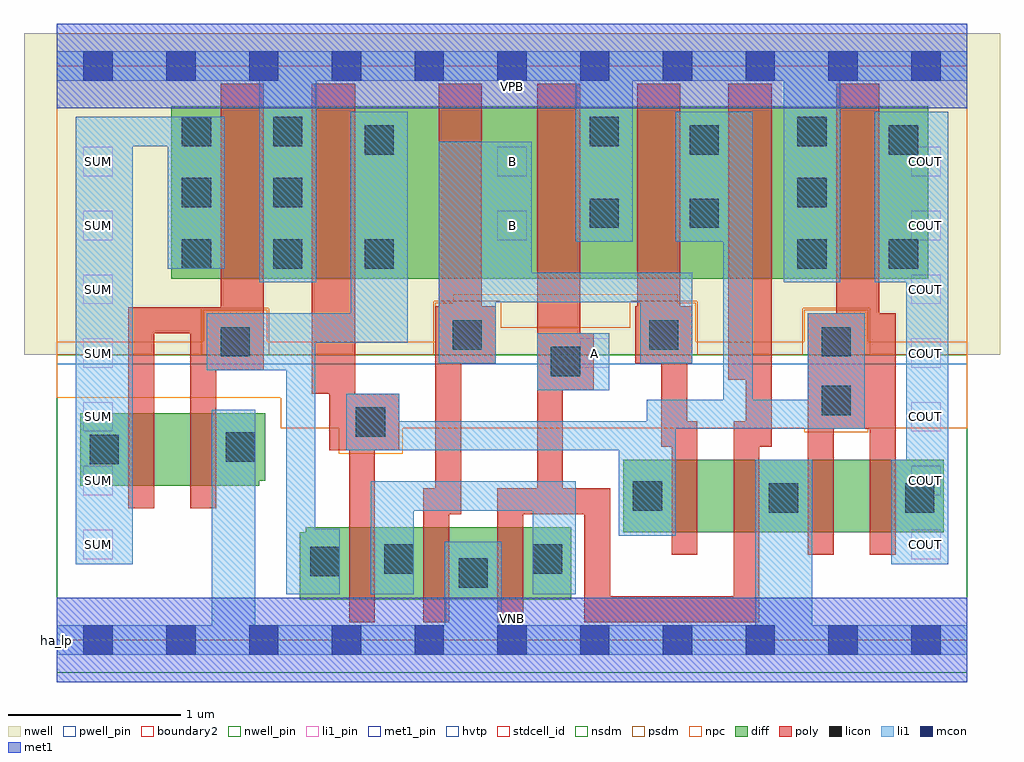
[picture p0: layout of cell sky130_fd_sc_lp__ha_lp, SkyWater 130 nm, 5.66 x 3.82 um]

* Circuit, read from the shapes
.subckt sky130_fd_sc_lp__ha_lp A B COUT SUM VGND VNB VPB VPWR
XM1 n1 n2 SUM VNB sky130_fd_pr__nfet_01v8 w=0.42 l=0.15
XM2 VGND n2 n1 VNB sky130_fd_pr__nfet_01v8 w=0.42 l=0.15
XM3 n3 n4 n2 VNB sky130_fd_pr__nfet_01v8 w=0.42 l=0.15
XM4 VGND B n3 VNB sky130_fd_pr__nfet_01v8 w=0.42 l=0.15
XM5 n3 A VGND VNB sky130_fd_pr__nfet_01v8 w=0.42 l=0.15
XM6 n5 B n4 VNB sky130_fd_pr__nfet_01v8 w=0.42 l=0.15
XM7 VGND A n5 VNB sky130_fd_pr__nfet_01v8 w=0.42 l=0.15
XM8 n6 n4 VGND VNB sky130_fd_pr__nfet_01v8 w=0.42 l=0.15
XM9 COUT n4 n6 VNB sky130_fd_pr__nfet_01v8 w=0.42 l=0.15
XM10 VPWR n2 SUM VPB sky130_fd_pr__pfet_01v8_hvt w=1 l=0.25
XM11 n2 n4 VPWR VPB sky130_fd_pr__pfet_01v8_hvt w=1 l=0.25
XM12 n7 B n2 VPB sky130_fd_pr__pfet_01v8_hvt w=1 l=0.25
XM13 VPWR A n7 VPB sky130_fd_pr__pfet_01v8_hvt w=1 l=0.25
XM14 n4 B VPWR VPB sky130_fd_pr__pfet_01v8_hvt w=1 l=0.25
XM15 VPWR A n4 VPB sky130_fd_pr__pfet_01v8_hvt w=1 l=0.25
XM16 COUT n4 VPWR VPB sky130_fd_pr__pfet_01v8_hvt w=1 l=0.25
.ends

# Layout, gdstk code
import gdstk
lib = gdstk.Library(unit=1e-6, precision=1e-09)
def R(c, l, rs):  # rectangles x0, y0, x1, y1
    for r in rs: c.add(gdstk.rectangle(r[:2], r[2:], *l))
def A(c, l, x, y, w, h, nx, ny, dx, dy):  # array of equal rectangles
    R(c, l, [(x+i*dx, y+j*dy, x+i*dx+w, y+j*dy+h) for i in range(nx) for j in range(ny)])
def P(c, l, *ps):  # polygons
    for p in ps: c.add(gdstk.Polygon(p, *l))
nwell_pin = (64, 16)
nwell = (64, 20)
diff = (65, 20)
poly = (66, 20)
licon = (66, 44)
li1_pin = (67, 16)
li1 = (67, 20)
mcon = (67, 44)
met1_pin = (68, 16)
met1 = (68, 20)
hvtp = (78, 44)
stdcell_id = (81, 4)
nsdm = (93, 44)
psdm = (94, 20)
npc = (95, 20)
pwell_pin = (122, 16)
boundary2 = (236, 0)

sky130_fd_sc_lp__ha_lp = lib.new_cell('sky130_fd_sc_lp__ha_lp')
R(sky130_fd_sc_lp__ha_lp, nwell_pin, [(0,3.085,5.28,3.33)])
R(sky130_fd_sc_lp__ha_lp, nwell, [(-0.19,1.655,5.47,3.52)])
R(sky130_fd_sc_lp__ha_lp, diff, [(3.285,0.625,5.145,1.045), (0.665,2.095,5.055,3.095)])
P(sky130_fd_sc_lp__ha_lp, diff, [(1.21,1.315),(0.135,1.315),(0.135,0.895),(1.175,0.895),(1.175,0.925),(1.21,0.925)],
  [(2.985,0.655),(1.445,0.655),(1.445,0.625),(1.41,0.625),(1.41,0.235),(2.985,0.235)])
P(sky130_fd_sc_lp__ha_lp, poly, [(1.2,3.225),(0.95,3.225),(0.95,1.93),(0.415,1.93),(0.415,0.765),(0.565,0.765),(0.565,1.78),(0.775,1.78),(0.775,0.765),(0.925,0.765),(0.925,1.565),(1.2,1.565)],
  [(1.985,1.43),(1.73,1.43),(1.73,3.225),(1.48,3.225),(1.48,1.43),(1.58,1.43),(1.58,1.1),(1.695,1.1),(1.695,0.105),(1.845,0.105),(1.845,1.1),(1.985,1.1)],
  [(2.545,1.935),(2.465,1.935),(2.465,3.225),(2.215,3.225),(2.215,1.935),(2.195,1.935),(2.195,0.88),(2.125,0.88),(2.125,0.105),(2.275,0.105),(2.275,0.73),(2.345,0.73),(2.345,1.605),(2.545,1.605)],
  [(3.715,1.27),(3.655,1.27),(3.655,1.605),(3.685,1.605),(3.685,1.935),(3.615,1.935),(3.615,3.225),(3.365,3.225),(3.365,1.935),(3.355,1.935),(3.355,1.605),(3.505,1.605),(3.505,1.12),(3.565,1.12),(3.565,0.495),(3.715,0.495)],
  [(4.145,3.225),(3.895,3.225),(3.895,1.51),(3.995,1.51),(3.995,1.27),(3.925,1.27),(3.925,0.255),(3.21,0.255),(3.21,0.88),(2.935,0.88),(2.935,1.45),(3.115,1.45),(3.115,1.78),(3.035,1.78),(3.035,3.225),(2.785,3.225),(2.785,0.88),(2.555,0.88),(2.555,0.105),(2.705,0.105),(2.705,0.73),(3.06,0.73),(3.06,0.105),(4.075,0.105),(4.075,1.12),(4.145,1.12)],
  [(4.865,1.895),(4.77,1.895),(4.77,3.225),(4.52,3.225),(4.52,1.895),(4.355,1.895),(4.355,0.495),(4.505,0.495),(4.505,1.225),(4.715,1.225),(4.715,0.495),(4.865,0.495)])
A(sky130_fd_sc_lp__ha_lp, licon, 0.725, 2.155, 0.17, 0.17, 3, 1, 0.53, 0)
A(sky130_fd_sc_lp__ha_lp, licon, 4.295, 2.155, 0.17, 0.17, 1, 3, 0, 0.355)
R(sky130_fd_sc_lp__ha_lp, licon, [(2.33,0.305,2.5,0.475), (1.47,0.37,1.64,0.54), (1.9,0.385,2.07,0.555), (2.76,0.385,2.93,0.555), (4.13,0.74,4.3,0.91), (4.92,0.74,5.09,0.91), (3.34,0.75,3.51,0.92), (0.19,1.02,0.36,1.19), (0.98,1.035,1.15,1.205), (1.735,1.18,1.905,1.35), (4.435,1.305,4.605,1.475), (2.865,1.53,3.035,1.7), (0.95,1.645,1.12,1.815), (4.435,1.645,4.605,1.815), (2.295,1.685,2.465,1.855), (3.435,1.685,3.605,1.855), (4.825,2.155,4.995,2.325), (3.09,2.39,3.26,2.56), (3.67,2.39,3.84,2.56), (0.725,2.51,0.895,2.68), (1.255,2.51,1.425,2.68), (1.785,2.815,1.955,2.985), (3.67,2.815,3.84,2.985), (4.825,2.815,4.995,2.985), (0.725,2.865,0.895,3.035), (1.255,2.865,1.425,3.035), (3.09,2.865,3.26,3.035)])
A(sky130_fd_sc_lp__ha_lp, li1_pin, 0.155, 0.47, 0.17, 0.17, 1, 5, 0, 0.37)
A(sky130_fd_sc_lp__ha_lp, li1_pin, 4.955, 0.47, 0.17, 0.17, 1, 5, 0, 0.37)
A(sky130_fd_sc_lp__ha_lp, li1_pin, 0.155, 2.32, 0.17, 0.17, 3, 2, 2.4, 0.37)
R(sky130_fd_sc_lp__ha_lp, li1_pin, [(3.035,1.58,3.205,1.75)])
R(sky130_fd_sc_lp__ha_lp, li1, [(2.785,1.45,3.205,1.78)])
P(sky130_fd_sc_lp__ha_lp, li1, [(4.215,2.075),(4.215,3.245),(3.34,3.245),(3.34,2.31),(3.01,2.31),(3.01,3.245),(1.505,3.245),(1.505,2.075),(1.175,2.075),(1.175,3.245),(0,3.245),(0,3.415),(5.28,3.415),(5.28,3.245),(4.545,3.245),(4.545,2.075)],
  [(4.05,0.085),(4.05,1.045),(4.38,1.045),(4.38,0.085),(5.28,0.085),(5.28,-0.085),(0,-0.085),(0,0.085),(0.9,0.085),(0.9,1.335),(1.15,1.335),(1.15,0.085),(2.25,0.085),(2.25,0.57),(2.58,0.57),(2.58,0.085)],
  [(1.82,0.92),(3.01,0.92),(3.01,0.265),(2.76,0.265),(2.76,0.75),(2.07,0.75),(2.07,0.265),(1.82,0.265)],
  [(3.26,0.605),(3.26,1.1),(1.68,1.1),(1.68,1.43),(1.985,1.43),(1.985,1.27),(3.42,1.27),(3.42,1.395),(3.865,1.395),(3.865,2.31),(3.59,2.31),(3.59,3.065),(4.035,3.065),(4.035,1.395),(4.355,1.395),(4.355,1.895),(4.685,1.895),(4.685,1.225),(3.59,1.225),(3.59,0.605)],
  [(2.755,2.89),(2.755,2.13),(3.685,2.13),(3.685,1.605),(3.385,1.605),(3.385,1.96),(2.545,1.96),(2.545,1.605),(2.215,1.605),(2.215,2.89)],
  [(1.5,1.725),(1.5,0.645),(1.64,0.645),(1.64,0.265),(1.33,0.265),(1.33,1.565),(0.87,1.565),(0.87,1.895),(1.705,1.895),(1.705,3.065),(2.035,3.065),(2.035,1.725)],
  [(0.11,0.44),(0.11,3.035),(0.975,3.035),(0.975,2.155),(0.645,2.155),(0.645,2.865),(0.44,2.865),(0.44,0.44)],
  [(4.84,0.44),(4.84,1.045),(4.925,1.045),(4.925,2.075),(4.745,2.075),(4.745,3.065),(5.17,3.065),(5.17,0.44)])
A(sky130_fd_sc_lp__ha_lp, mcon, 0.155, -0.085, 0.17, 0.17, 11, 2, 0.48, 3.33)
R(sky130_fd_sc_lp__ha_lp, met1_pin, [(0,0,5.28,0.245), (0,3.085,5.28,3.33)])
R(sky130_fd_sc_lp__ha_lp, met1, [(0,-0.245,5.28,0.245), (0,3.085,5.28,3.575)])
R(sky130_fd_sc_lp__ha_lp, hvtp, [(0,1.6,5.28,3.33)])
R(sky130_fd_sc_lp__ha_lp, stdcell_id, [(0,0,5.28,3.33)])
R(sky130_fd_sc_lp__ha_lp, nsdm, [(0,-0.19,5.28,1.655)])
P(sky130_fd_sc_lp__ha_lp, psdm, [(5.28,3.52),(0,3.52),(0,1.655),(0.84,1.655),(0.84,1.925),(1.23,1.925),(1.23,1.655),(2.185,1.655),(2.185,1.965),(2.575,1.965),(2.575,1.81),(3.325,1.81),(3.325,1.965),(3.715,1.965),(3.715,1.655),(4.325,1.655),(4.325,1.925),(4.715,1.925),(4.715,1.655),(5.28,1.655)])
P(sky130_fd_sc_lp__ha_lp, npc, [(5.28,1.73),(4.705,1.73),(4.705,1.915),(4.335,1.915),(4.335,1.73),(3.705,1.73),(3.705,1.955),(3.6,1.955),(3.6,2.005),(2.3,2.005),(2.3,1.955),(2.195,1.955),(2.195,1.73),(1.22,1.73),(1.22,1.915),(0.85,1.915),(0.85,1.73),(0,1.73),(0,1.405),(1.3,1.405),(1.3,1.23),(1.635,1.23),(1.635,1.08),(2.005,1.08),(2.005,1.23),(4.335,1.23),(4.335,1.205),(4.705,1.205),(4.705,1.23),(5.28,1.23)])
R(sky130_fd_sc_lp__ha_lp, pwell_pin, [(0,0,5.28,0.245)])
R(sky130_fd_sc_lp__ha_lp, boundary2, [(0,0,5.28,3.33)])
sky130_fd_sc_lp__ha_lp.add(gdstk.Label('VNB', (2.64,0.123), layer=64, texttype=59))
sky130_fd_sc_lp__ha_lp.add(gdstk.Label('VPB', (2.64,3.208), layer=64, texttype=5))
sky130_fd_sc_lp__ha_lp.add(gdstk.Label('ha_lp', (0,0), layer=83, texttype=44))
sky130_fd_sc_lp__ha_lp.add(gdstk.Label('VPWR', (2.64,3.208), layer=68, texttype=5))
sky130_fd_sc_lp__ha_lp.add(gdstk.Label('VGND', (2.64,0.123), layer=68, texttype=5))
sky130_fd_sc_lp__ha_lp.add(gdstk.Label('A', (3.12,1.665), layer=67, texttype=5))
sky130_fd_sc_lp__ha_lp.add(gdstk.Label('B', (2.64,2.405), layer=67, texttype=5))
sky130_fd_sc_lp__ha_lp.add(gdstk.Label('B', (2.64,2.775), layer=67, texttype=5))
sky130_fd_sc_lp__ha_lp.add(gdstk.Label('SUM', (0.24,0.555), layer=67, texttype=5))
sky130_fd_sc_lp__ha_lp.add(gdstk.Label('SUM', (0.24,0.925), layer=67, texttype=5))
sky130_fd_sc_lp__ha_lp.add(gdstk.Label('SUM', (0.24,1.295), layer=67, texttype=5))
sky130_fd_sc_lp__ha_lp.add(gdstk.Label('SUM', (0.24,1.665), layer=67, texttype=5))
sky130_fd_sc_lp__ha_lp.add(gdstk.Label('SUM', (0.24,2.035), layer=67, texttype=5))
sky130_fd_sc_lp__ha_lp.add(gdstk.Label('SUM', (0.24,2.405), layer=67, texttype=5))
sky130_fd_sc_lp__ha_lp.add(gdstk.Label('SUM', (0.24,2.775), layer=67, texttype=5))
sky130_fd_sc_lp__ha_lp.add(gdstk.Label('COUT', (5.04,0.555), layer=67, texttype=5))
sky130_fd_sc_lp__ha_lp.add(gdstk.Label('COUT', (5.04,0.925), layer=67, texttype=5))
sky130_fd_sc_lp__ha_lp.add(gdstk.Label('COUT', (5.04,1.295), layer=67, texttype=5))
sky130_fd_sc_lp__ha_lp.add(gdstk.Label('COUT', (5.04,1.665), layer=67, texttype=5))
sky130_fd_sc_lp__ha_lp.add(gdstk.Label('COUT', (5.04,2.035), layer=67, texttype=5))
sky130_fd_sc_lp__ha_lp.add(gdstk.Label('COUT', (5.04,2.405), layer=67, texttype=5))
sky130_fd_sc_lp__ha_lp.add(gdstk.Label('COUT', (5.04,2.775), layer=67, texttype=5))

lib.write_gds('sky130_fd_sc_lp__ha_lp.gds')
